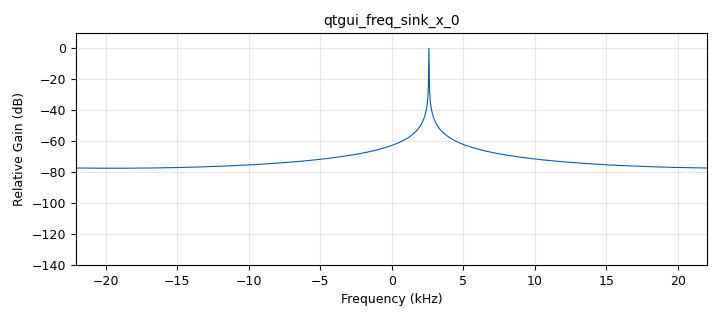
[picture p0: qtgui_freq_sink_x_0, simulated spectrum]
<?xml version='1.0' encoding='utf-8'?>
<?grc format='1' created='3.7.12'?>
<flow_graph>
<block>
<key>options</key>
<param><key>id</key><value>top_block</value></param>
<param><key>generate_options</key><value>qt_gui</value></param>
</block>
<block>
<key>variable_qtgui_range</key>
<param><key>id</key><value>freq_offset</value></param>
<param><key>value</key><value>0</value></param>
<param><key>label</key><value>freq_offset</value></param>
<param><key>orient</key><value>Qt.Horizontal</value></param>
<param><key>start</key><value>-500</value></param>
<param><key>step</key><value>1</value></param>
<param><key>stop</key><value>500</value></param>
</block>
<block>
<key>variable_qtgui_label</key>
<param><key>id</key><value>freq_offset1</value></param>
<param><key>value</key><value>0</value></param>
<param><key>label</key><value>freq_offset</value></param>
<param><key>type</key><value>int</value></param>
</block>
<block>
<key>variable_qtgui_range</key>
<param><key>id</key><value>noise_amp</value></param>
<param><key>value</key><value>0</value></param>
<param><key>label</key><value>noise_amp</value></param>
<param><key>orient</key><value>Qt.Horizontal</value></param>
<param><key>start</key><value>0</value></param>
<param><key>step</key><value>.001</value></param>
<param><key>stop</key><value>1</value></param>
</block>
<block>
<key>variable</key>
<param><key>id</key><value>samp_rate</value></param>
<param><key>value</key><value>44100</value></param>
</block>
<block>
<key>variable</key>
<param><key>id</key><value>variable_0</value></param>
<param><key>value</key><value>0</value></param>
</block>
<block>
<key>analog_noise_source_x</key>
<param><key>id</key><value>analog_noise_source_x_0</value></param>
<param><key>amp</key><value>noise_amp</value></param>
<param><key>noise_type</key><value>analog.GR_GAUSSIAN</value></param>
<param><key>type</key><value>complex</value></param>
<param><key>seed</key><value>0</value></param>
</block>
<block>
<key>analog_sig_source_x</key>
<param><key>id</key><value>analog_sig_source_x_0</value></param>
<param><key>amp</key><value>1</value></param>
<param><key>freq</key><value>2600 +freq_offset</value></param>
<param><key>offset</key><value>0</value></param>
<param><key>type</key><value>complex</value></param>
<param><key>samp_rate</key><value>samp_rate</value></param>
<param><key>waveform</key><value>analog.GR_COS_WAVE</value></param>
</block>
<block>
<key>audio_sink</key>
<param><key>id</key><value>audio_sink_0</value></param>
<param><key>samp_rate</key><value>samp_rate</value></param>
</block>
<block>
<key>blocks_add_xx</key>
<param><key>id</key><value>blocks_add_xx_0</value></param>
<param><key>type</key><value>complex</value></param>
</block>
<block>
<key>blocks_complex_to_real</key>
<param><key>id</key><value>blocks_complex_to_real_0</value></param>
</block>
<block>
<key>blocks_divide_xx</key>
<param><key>id</key><value>blocks_divide_xx_0</value></param>
<param><key>type</key><value>float</value></param>
</block>
<block>
<key>blocks_nlog10_ff</key>
<param><key>id</key><value>blocks_nlog10_ff_0</value></param>
<param><key>k</key><value>0</value></param>
</block>
<block>
<key>blocks_rms_xx</key>
<param><key>id</key><value>blocks_rms_xx_0</value></param>
<param><key>alpha</key><value>0.0001</value></param>
<param><key>type</key><value>complex</value></param>
</block>
<block>
<key>blocks_rms_xx</key>
<param><key>id</key><value>blocks_rms_xx_1</value></param>
<param><key>alpha</key><value>0.0001</value></param>
<param><key>type</key><value>complex</value></param>
</block>
<block>
<key>blocks_throttle</key>
<param><key>id</key><value>blocks_throttle_0</value></param>
<param><key>samples_per_second</key><value>samp_rate</value></param>
<param><key>type</key><value>complex</value></param>
</block>
<block>
<key>qtgui_freq_sink_x</key>
<param><key>id</key><value>qtgui_freq_sink_x_0</value></param>
<param><key>average</key><value>0.2</value></param>
<param><key>bw</key><value>samp_rate</value></param>
<param><key>fc</key><value>0</value></param>
<param><key>fftsize</key><value>1000</value></param>
<param><key>showports</key><value>True</value></param>
<param><key>type</key><value>complex</value></param>
<param><key>update_time</key><value>0.05</value></param>
<param><key>wintype</key><value>firdes.WIN_RECTANGULAR</value></param>
</block>
<block>
<key>qtgui_number_sink</key>
<param><key>id</key><value>qtgui_number_sink_0</value></param>
<param><key>graph_type</key><value>qtgui.NUM_GRAPH_HORIZ</value></param>
<param><key>type</key><value>float</value></param>
</block>
<connection><source_block_id>analog_noise_source_x_0</source_block_id><sink_block_id>blocks_add_xx_0</sink_block_id><source_key>0</source_key><sink_key>0</sink_key></connection>
<connection><source_block_id>analog_noise_source_x_0</source_block_id><sink_block_id>blocks_rms_xx_1</sink_block_id><source_key>0</source_key><sink_key>0</sink_key></connection>
<connection><source_block_id>analog_sig_source_x_0</source_block_id><sink_block_id>blocks_add_xx_0</sink_block_id><source_key>0</source_key><sink_key>1</sink_key></connection>
<connection><source_block_id>analog_sig_source_x_0</source_block_id><sink_block_id>blocks_rms_xx_0</sink_block_id><source_key>0</source_key><sink_key>0</sink_key></connection>
<connection><source_block_id>blocks_add_xx_0</source_block_id><sink_block_id>blocks_complex_to_real_0</sink_block_id><source_key>0</source_key><sink_key>0</sink_key></connection>
<connection><source_block_id>blocks_add_xx_0</source_block_id><sink_block_id>blocks_throttle_0</sink_block_id><source_key>0</source_key><sink_key>0</sink_key></connection>
<connection><source_block_id>blocks_complex_to_real_0</source_block_id><sink_block_id>audio_sink_0</sink_block_id><source_key>0</source_key><sink_key>0</sink_key></connection>
<connection><source_block_id>blocks_divide_xx_0</source_block_id><sink_block_id>blocks_nlog10_ff_0</sink_block_id><source_key>0</source_key><sink_key>0</sink_key></connection>
<connection><source_block_id>blocks_nlog10_ff_0</source_block_id><sink_block_id>qtgui_number_sink_0</sink_block_id><source_key>0</source_key><sink_key>0</sink_key></connection>
<connection><source_block_id>blocks_rms_xx_0</source_block_id><sink_block_id>blocks_divide_xx_0</sink_block_id><source_key>0</source_key><sink_key>1</sink_key></connection>
<connection><source_block_id>blocks_rms_xx_1</source_block_id><sink_block_id>blocks_divide_xx_0</sink_block_id><source_key>0</source_key><sink_key>0</sink_key></connection>
<connection><source_block_id>blocks_throttle_0</source_block_id><sink_block_id>qtgui_freq_sink_x_0</sink_block_id><source_key>0</source_key><sink_key>0</sink_key></connection>
</flow_graph>
